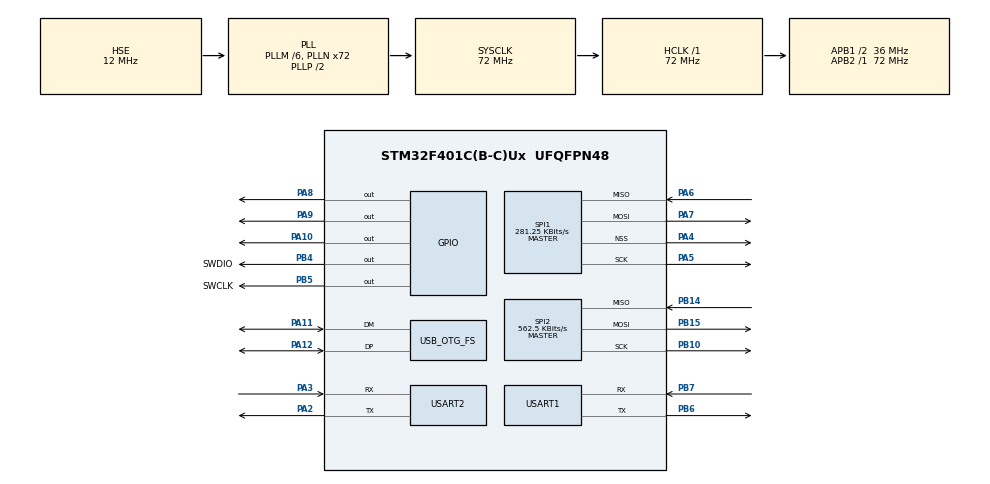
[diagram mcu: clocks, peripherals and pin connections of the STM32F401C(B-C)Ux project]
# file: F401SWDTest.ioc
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Dma.Request0=SPI2_RX
Dma.Request1=SPI2_TX
Dma.SPI2_RX.0.Direction=DMA_PERIPH_TO_MEMORY
Dma.SPI2_RX.0.FIFOMode=DMA_FIFOMODE_DISABLE
Dma.SPI2_RX.0.Instance=DMA1_Stream3
Dma.SPI2_RX.0.MemDataAlignment=DMA_MDATAALIGN_BYTE
Dma.SPI2_RX.0.MemInc=DMA_MINC_ENABLE
Dma.SPI2_RX.0.Mode=DMA_NORMAL
Dma.SPI2_RX.0.PeriphDataAlignment=DMA_PDATAALIGN_BYTE
Dma.SPI2_RX.0.PeriphInc=DMA_PINC_DISABLE
Dma.SPI2_RX.0.Priority=DMA_PRIORITY_VERY_HIGH
Dma.SPI2_TX.1.Direction=DMA_MEMORY_TO_PERIPH
Dma.SPI2_TX.1.FIFOMode=DMA_FIFOMODE_ENABLE
Dma.SPI2_TX.1.FIFOThreshold=DMA_FIFO_THRESHOLD_FULL
Dma.SPI2_TX.1.Instance=DMA1_Stream4
Dma.SPI2_TX.1.MemBurst=DMA_MBURST_SINGLE
Dma.SPI2_TX.1.MemDataAlignment=DMA_MDATAALIGN_BYTE
Dma.SPI2_TX.1.MemInc=DMA_MINC_ENABLE
Dma.SPI2_TX.1.Mode=DMA_NORMAL
Dma.SPI2_TX.1.PeriphBurst=DMA_PBURST_SINGLE
Dma.SPI2_TX.1.PeriphDataAlignment=DMA_PDATAALIGN_BYTE
Dma.SPI2_TX.1.PeriphInc=DMA_PINC_DISABLE
Dma.SPI2_TX.1.Priority=DMA_PRIORITY_VERY_HIGH
FATFS._LFN_UNICODE=0
FATFS._USE_LFN=3
Mcu.Family=STM32F4
Mcu.Name=STM32F401C(B-C)Ux
Mcu.Package=UFQFPN48
NVIC.DMA1_Stream3_IRQn=true\:4\:0\:true\:false\:true\:false
NVIC.DMA1_Stream4_IRQn=true\:4\:0\:true\:false\:true\:false
NVIC.OTG_FS_IRQn=true\:5\:0\:true\:false\:true\:false
NVIC.PriorityGroup=NVIC_PRIORITYGROUP_4
PA10.Signal=GPIO_Output
PA11.Mode=Device_Only
PA11.Signal=USB_OTG_FS_DM
PA12.Mode=Device_Only
PA12.Signal=USB_OTG_FS_DP
PA13.Mode=Serial_Wire
PA13.Signal=SYS_JTMS-SWDIO
PA14.Mode=Serial_Wire
PA14.Signal=SYS_JTCK-SWCLK
PA2.Mode=Asynchronous
PA2.Signal=USART2_TX
PA3.Mode=Asynchronous
PA3.Signal=USART2_RX
PA4.Mode=NSS_Signal_Hard_Output
PA4.Signal=SPI1_NSS
PA5.Mode=Full_Duplex_Master
PA5.Signal=SPI1_SCK
PA6.Mode=Full_Duplex_Master
PA6.Signal=SPI1_MISO
PA7.Mode=Full_Duplex_Master
PA7.Signal=SPI1_MOSI
PA8.Signal=GPIO_Output
PA9.Signal=GPIO_Output
PB10.Mode=Full_Duplex_Master
PB10.Signal=SPI2_SCK
PB14.Mode=Full_Duplex_Master
PB14.Signal=SPI2_MISO
PB15.Mode=Full_Duplex_Master
PB15.Signal=SPI2_MOSI
PB4.GPIO_Label=SWDIO
PB4.GPIO_PuPd=GPIO_PULLUP
PB4.GPIO_Speed=GPIO_SPEED_FREQ_LOW
PB4.Signal=GPIO_Output
PB5.GPIO_Label=SWCLK
PB5.GPIO_PuPd=GPIO_PULLDOWN
PB5.GPIO_Speed=GPIO_SPEED_FREQ_LOW
PB5.Signal=GPIO_Output
PB6.Mode=Asynchronous
PB6.Signal=USART1_TX
PB7.Mode=Asynchronous
PB7.Signal=USART1_RX
PH0\ -\ OSC_IN.Mode=HSE-External-Oscillator
PH0\ -\ OSC_IN.Signal=RCC_OSC_IN
PH1\ -\ OSC_OUT.Mode=HSE-External-Oscillator
PH1\ -\ OSC_OUT.Signal=RCC_OSC_OUT
ProjectManager.HeapSize=0x5000
ProjectManager.StackSize=0x3000
ProjectManager.TargetToolchain=MDK-ARM V5
RCC.48MHZClocksFreq_Value=48000000
RCC.AHBFreq_Value=72000000
RCC.APB1CLKDivider=RCC_HCLK_DIV2
RCC.APB1Freq_Value=36000000
RCC.APB1TimFreq_Value=72000000
RCC.APB2Freq_Value=72000000
RCC.APB2TimFreq_Value=72000000
RCC.CortexFreq_Value=72000000
RCC.HCLKFreq_Value=72000000
RCC.HSE_VALUE=12000000
RCC.HSI_VALUE=16000000
RCC.LSE_VALUE=32768
RCC.PLLM=6
RCC.PLLN=72
RCC.PLLQ=3
RCC.SYSCLKFreq_VALUE=72000000
RCC.SYSCLKSource=RCC_SYSCLKSOURCE_PLLCLK
RCC.VCOOutputFreq_Value=144000000
SPI1.BaudRatePrescaler=SPI_BAUDRATEPRESCALER_256
SPI1.CLKPhase=SPI_PHASE_2EDGE
SPI1.CalculateBaudRate=281.25 KBits/s
SPI1.Direction=SPI_DIRECTION_2LINES
SPI1.FirstBit=SPI_FIRSTBIT_LSB
SPI1.Mode=SPI_MODE_MASTER
SPI1.VirtualNSS=VM_NSSHARD
SPI1.VirtualType=VM_MASTER
SPI2.BaudRatePrescaler=SPI_BAUDRATEPRESCALER_64
SPI2.CLKPhase=SPI_PHASE_2EDGE
SPI2.CalculateBaudRate=562.5 KBits/s
SPI2.Direction=SPI_DIRECTION_2LINES
SPI2.Mode=SPI_MODE_MASTER
SPI2.VirtualType=VM_MASTER
USART1.VirtualMode=VM_ASYNC
USART2.VirtualMode=VM_ASYNC
USB_DEVICE.CLASS_NAME_FS=MSC
USB_DEVICE.VirtualMode=Msc
USB_DEVICE.VirtualModeFS=Msc_FS
USB_OTG_FS.VirtualMode=Device_Only
USB_OTG_FS.vbus_sensing_enable=DISABLE
VP_CRC_VS_CRC.Mode=CRC_Activate
VP_FATFS_VS_Generic.Mode=User_defined
VP_USB_DEVICE_VS_USB_DEVICE_MSC_FS.Mode=MSC_FS
board=F401SWDTest

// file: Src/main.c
/**
  ******************************************************************************
  * File Name          : main.c
  * Description        : Main program body
  ******************************************************************************
  * This notice applies to any and all portions of this file
  * that are not between comment pairs USER CODE BEGIN and
  * USER CODE END. Other portions of this file, whether
  * inserted by the user or by software development tools
  * are owned by their respective copyright owners.
  *
  * Copyright (c) 2017 STMicroelectronics International N.V.
  * All rights reserved.
  *
  * Redistribution and use in source and binary forms, with or without
  * modification, are permitted, provided that the following conditions are met:
  *
  * 1. Redistribution of source code must retain the above copyright notice,
  *    this list of conditions and the following disclaimer.
  * 2. Redistributions in binary form must reproduce the above copyright notice,
  *    this list of conditions and the following disclaimer in the documentation
  *    and/or other materials provided with the distribution.
  * 3. Neither the name of STMicroelectronics nor the names of other
  *    contributors to this software may be used to endorse or promote products
  *    derived from this software without specific written permission.
  * 4. This software, including modifications and/or derivative works of this
  *    software, must execute solely and exclusively on microcontroller or
  *    microprocessor devices manufactured by or for STMicroelectronics.
  * 5. Redistribution and use of this software other than as permitted under
  *    this license is void and will automatically terminate your rights under
  *    this license.
  *
  * THIS SOFTWARE IS PROVIDED BY STMICROELECTRONICS AND CONTRIBUTORS "AS IS"
  * AND ANY EXPRESS, IMPLIED OR STATUTORY WARRANTIES, INCLUDING, BUT NOT
  * LIMITED TO, THE IMPLIED WARRANTIES OF MERCHANTABILITY, FITNESS FOR A
  * PARTICULAR PURPOSE AND NON-INFRINGEMENT OF THIRD PARTY INTELLECTUAL PROPERTY
  * RIGHTS ARE DISCLAIMED TO THE FULLEST EXTENT PERMITTED BY LAW. IN NO EVENT
  * SHALL STMICROELECTRONICS OR CONTRIBUTORS BE LIABLE FOR ANY DIRECT, INDIRECT,
  * INCIDENTAL, SPECIAL, EXEMPLARY, OR CONSEQUENTIAL DAMAGES (INCLUDING, BUT NOT
  * LIMITED TO, PROCUREMENT OF SUBSTITUTE GOODS OR SERVICES; LOSS OF USE, DATA,
  * OR PROFITS; OR BUSINESS INTERRUPTION) HOWEVER CAUSED AND ON ANY THEORY OF
  * LIABILITY, WHETHER IN CONTRACT, STRICT LIABILITY, OR TORT (INCLUDING
  * NEGLIGENCE OR OTHERWISE) ARISING IN ANY WAY OUT OF THE USE OF THIS SOFTWARE,
  * EVEN IF ADVISED OF THE POSSIBILITY OF SUCH DAMAGE.
  *
  ******************************************************************************
  */
#include "main.h"
#include "stm32f4xx_hal.h"
#include "fatfs.h"
#include "usb_device.h"

/* USER CODE BEGIN Includes */
#include "command.h"
#include "target_internal.h"
#include "cortexm.h"
/* USER CODE END Includes */

CRC_HandleTypeDef hcrc;

SPI_HandleTypeDef hspi1;
SPI_HandleTypeDef hspi2;
DMA_HandleTypeDef hdma_spi2_rx;
DMA_HandleTypeDef hdma_spi2_tx;

UART_HandleTypeDef huart1;
UART_HandleTypeDef huart2;

/* USER CODE BEGIN PV */
/* Private variables ---------------------------------------------------------*/
extern target *target_list;

//extern void stm32f4_flash_unlock(target *t);
//extern int stm32f4_flash_write(struct target_flash *f, target_addr dest, const void *src, size_t len);

/* USER CODE END PV */

void SystemClock_Config(void);
static void MX_GPIO_Init(void);
static void MX_DMA_Init(void);
static void MX_USART2_UART_Init(void);
static void MX_SPI1_Init(void);
static void MX_CRC_Init(void);
static void MX_USART1_UART_Init(void);
static void MX_SPI2_Init(void);

/* USER CODE BEGIN PFP */
/* Private function prototypes -----------------------------------------------*/
char hello[]="\nHello,World!\n";
/* USER CODE END PFP */

/* USER CODE BEGIN 0 */

uint8_t lineReset[8]={0xFF,0xFF,0xFF,0xFF,0xFF,0xFF,0xFF,0xFF};

//uint8_t JTAG2SWD[18]={0xFF,0xFF,0xFF,0xFF,0xFF,0xFF,0xFF,0xFF,0x79,0xE7,0xFF,0xFF,0xFF,0xFF,0xFF,0xFF,0xFF,0xF0};  //MSB
uint8_t JTAG2SWD[18]={0xFF,0xFF,0xFF,0xFF,0xFF,0xFF,0xFF,0xFF,0x9E,0xE7,0xFF,0xFF,0xFF,0xFF,0xFF,0xFF,0xFF,0x00};  //LSB
uint8_t Cache[18];
//uint8_t readIDCode[6]={0xA5,0x00,0x00,0x00,0x00,0x00};  //MSB
uint8_t readIDCode[7]={0xA5,0x00,0x00,0x00,0x00,0x00};  //LSB
uint8_t readContent[7];

/* USER CODE END 0 */

int main(void)
{

  /* MCU Configuration----------------------------------------------------------*/

  /* Reset of all peripherals, Initializes the Flash interface and the Systick. */
  HAL_Init();

  /* Configure the system clock */
  SystemClock_Config();

  /* Initialize all configured peripherals */
  MX_GPIO_Init();
  MX_DMA_Init();
  MX_USART2_UART_Init();
  MX_SPI1_Init();
  MX_CRC_Init();
  MX_USART1_UART_Init();
  MX_USB_DEVICE_Init();
  MX_FATFS_Init();
  MX_SPI2_Init();

  /* USER CODE BEGIN 2 */

	HAL_SPI_TransmitReceive(&hspi1, JTAG2SWD, Cache, 18, 100);

	//HAL_SPI_TransmitReceive(&hspi1, readIDCode, readContent, 6, 100);
	HAL_SPI_TransmitReceive(&hspi1, readIDCode, readContent, 7, 100);

	//printf("\n\n%d\n\n", sizeof(ADIv5_DP_t));
//	static uint8_t stm32f4_flash_memory_space_count = 0;
//	static uint8_t stm32f4_flash_memory_space[10][64];
//	struct stm32f4_flash *sf = (struct stm32f4_flash *)stm32f4_flash_memory_space[stm32f4_flash_memory_space_count++];

	//f_mount(&USERFatFS, USERPath, 0);

	FATFS *fs = &USERFatFS;
	FRESULT res;
	DWORD fre_clust;
	FIL fwfile;
	FILINFO fwfileinfo;
	DIR dir;
	char fwfilepath[16];
	UINT fwReadByte;

	res = f_mount(fs, USERPath, 1);
  if (res != FR_OK)
  {
    printf("FAILED: %d\n",res);
	}
  else
		printf("MOUNT OK\n");

	res = f_getfree(USERPath,&fre_clust,&fs);         /* Get Number of Free Clusters */
	if (res == FR_OK)
	{
	                                             /* Print free space in unit of MB (assuming 512 bytes/sector) */
        printf("%.1f KB Total Drive Space.\n"
               "%.1f KB Available Space.\n",
               ((fs->n_fatent-2)*fs->csize)/2.0,(fre_clust*fs->csize)/2.0);
	}
	else
	{
		printf("get disk info error\n");
		printf("error code: %d\n",res);
	}

	res = f_opendir(&dir, "/");                       /* Open the directory */
	if (res == FR_OK) {
		for (;;) {
				res = f_readdir(&dir, &fwfileinfo);                   /* Read a directory item */
				if (res != FR_OK || fwfileinfo.fname[0] == 0)
					break;  /* Break on error or end of dir */
				if (fwfileinfo.fattrib & AM_DIR) {                    /* It is a directory */

				} else {                                       /* It is a file. */
						printf("%s%s  %lu Bytes\n", USERPath, fwfileinfo.fname, fwfileinfo.fsize);
						if(strstr(fwfileinfo.fname, ".BIN") != NULL)
							break;
				}
			}
			res = f_open(&fwfile, fwfileinfo.fname, FA_READ);

		} else {
			printf("open path ERROR\n");
		}

		uint8_t cache[128];
		do{
		res = f_read(&fwfile, cache, 128, &fwReadByte);
		printf("res = %d fwReadByte = %d\n", res, fwReadByte);
		}while(fwReadByte != 0);
		for(int i=0; i<128; i++)
			printf("%02x ", cache[i]);

	cmd_swdp_scan();

	if(target_list != NULL && fwfileinfo.fname[0] != 0)
	{

		cortexm_halt_request(target_list);
		cortexm_halt_on_reset_request(target_list);
		cortexm_reset(target_list);

		f_lseek(&fwfile, 0);
		uint8_t *fwbuff = malloc(0x4000);
		target_flash_erase(target_list,0x08000000, (fwfileinfo.fsize + 0x3FFF) & ~0x3FFF);
		uint32_t targetWriteOffset = 0;
		for(;;)
		{
			f_read(&fwfile, fwbuff, 0x4000, &fwReadByte);
			if(fwReadByte == 0)
				break;
			if((fwReadByte & 0x03) !=0)
			{
				uint32_t AlignedByte = ((fwReadByte + 0x03) & ~0x03);
				for(;fwReadByte < AlignedByte;fwReadByte++)
					fwbuff[fwReadByte] = 0xFF;
			}
			target_flash_write(target_list,0x08000000 + targetWriteOffset, (const void *)fwbuff, fwReadByte);
			targetWriteOffset += fwReadByte;
		}
		free(fwbuff);
//		{//DEBUG USE
//		uint8_t cache[128];
//		adiv5_mem_read(cortexm_ap(target_list), cache, 0x20000000, 128);
//		for(int i=0; i<128; i++)
//			printf("%02x ", cache[i]);
//		}

		cortexm_halt_on_reset_clear(target_list);
		cortexm_reset(target_list);
		printf("Program target device Complete!\n");
	} else {
		printf("Connect to target Fail, or can't find bin file.\n");
	}

	f_close(&fwfile);
	f_closedir(&dir);
  /* USER CODE END 2 */

  /* Infinite loop */
  while (1)
  {

  /* USER CODE BEGIN 3 */
	//HAL_SPI_TransmitReceive(&hspi1, JTAG2SWD, Cache, 18, 100);
	//HAL_SPI_TransmitReceive(&hspi1, readIDCode, readContent, 6, 100);
		HAL_UART_Transmit(&huart1, (uint8_t *)hello, sizeof(hello), 1000);

		HAL_GPIO_WritePin(GPIOA,GPIO_PIN_8,GPIO_PIN_SET);
		HAL_Delay(1000);

		//HAL_UART_Transmit(&huart1,  (uint8_t *)flash_ptr, 0x10, 1000);

		HAL_GPIO_WritePin(GPIOA,GPIO_PIN_8,GPIO_PIN_RESET);
		HAL_Delay(1000);

	}

  /* USER CODE END 3 */

}

/** System Clock Configuration
*/
void SystemClock_Config(void)
{

  RCC_OscInitTypeDef RCC_OscInitStruct;
  RCC_ClkInitTypeDef RCC_ClkInitStruct;

    /**Configure the main internal regulator output voltage
    */
  __HAL_RCC_PWR_CLK_ENABLE();

  __HAL_PWR_VOLTAGESCALING_CONFIG(PWR_REGULATOR_VOLTAGE_SCALE2);

    /**Initializes the CPU, AHB and APB busses clocks
    */
  RCC_OscInitStruct.OscillatorType = RCC_OSCILLATORTYPE_HSE;
  RCC_OscInitStruct.HSEState = RCC_HSE_ON;
  RCC_OscInitStruct.PLL.PLLState = RCC_PLL_ON;
  RCC_OscInitStruct.PLL.PLLSource = RCC_PLLSOURCE_HSE;
  RCC_OscInitStruct.PLL.PLLM = 6;
  RCC_OscInitStruct.PLL.PLLN = 72;
  RCC_OscInitStruct.PLL.PLLP = RCC_PLLP_DIV2;
  RCC_OscInitStruct.PLL.PLLQ = 3;
  if (HAL_RCC_OscConfig(&RCC_OscInitStruct) != HAL_OK)
  {
    _Error_Handler(__FILE__, __LINE__);
  }

    /**Initializes the CPU, AHB and APB busses clocks
    */
  RCC_ClkInitStruct.ClockType = RCC_CLOCKTYPE_HCLK|RCC_CLOCKTYPE_SYSCLK
                              |RCC_CLOCKTYPE_PCLK1|RCC_CLOCKTYPE_PCLK2;
  RCC_ClkInitStruct.SYSCLKSource = RCC_SYSCLKSOURCE_PLLCLK;
  RCC_ClkInitStruct.AHBCLKDivider = RCC_SYSCLK_DIV1;
  RCC_ClkInitStruct.APB1CLKDivider = RCC_HCLK_DIV2;
  RCC_ClkInitStruct.APB2CLKDivider = RCC_HCLK_DIV1;

  if (HAL_RCC_ClockConfig(&RCC_ClkInitStruct, FLASH_LATENCY_2) != HAL_OK)
  {
    _Error_Handler(__FILE__, __LINE__);
  }

    /**Configure the Systick interrupt time
    */
  HAL_SYSTICK_Config(HAL_RCC_GetHCLKFreq()/1000);

    /**Configure the Systick
    */
  HAL_SYSTICK_CLKSourceConfig(SYSTICK_CLKSOURCE_HCLK);

  /* SysTick_IRQn interrupt configuration */
  HAL_NVIC_SetPriority(SysTick_IRQn, 0, 0);
}

/* CRC init function */
static void MX_CRC_Init(void)
{

  hcrc.Instance = CRC;
  if (HAL_CRC_Init(&hcrc) != HAL_OK)
  {
    _Error_Handler(__FILE__, __LINE__);
  }

}

/* SPI1 init function */
static void MX_SPI1_Init(void)
{

  /* SPI1 parameter configuration*/
  hspi1.Instance = SPI1;
  hspi1.Init.Mode = SPI_MODE_MASTER;
  hspi1.Init.Direction = SPI_DIRECTION_2LINES;
  hspi1.Init.DataSize = SPI_DATASIZE_8BIT;
  hspi1.Init.CLKPolarity = SPI_POLARITY_LOW;
  hspi1.Init.CLKPhase = SPI_PHASE_2EDGE;
  hspi1.Init.NSS = SPI_NSS_HARD_OUTPUT;
  hspi1.Init.BaudRatePrescaler = SPI_BAUDRATEPRESCALER_256;
  hspi1.Init.FirstBit = SPI_FIRSTBIT_LSB;
  hspi1.Init.TIMode = SPI_TIMODE_DISABLE;
  hspi1.Init.CRCCalculation = SPI_CRCCALCULATION_DISABLE;
  hspi1.Init.CRCPolynomial = 10;
  if (HAL_SPI_Init(&hspi1) != HAL_OK)
  {
    _Error_Handler(__FILE__, __LINE__);
  }

}

/* SPI2 init function */
static void MX_SPI2_Init(void)
{

  /* SPI2 parameter configuration*/
  hspi2.Instance = SPI2;
  hspi2.Init.Mode = SPI_MODE_MASTER;
  hspi2.Init.Direction = SPI_DIRECTION_2LINES;
  hspi2.Init.DataSize = SPI_DATASIZE_8BIT;
  hspi2.Init.CLKPolarity = SPI_POLARITY_LOW;
  hspi2.Init.CLKPhase = SPI_PHASE_2EDGE;
  hspi2.Init.NSS = SPI_NSS_SOFT;
  hspi2.Init.BaudRatePrescaler = SPI_BAUDRATEPRESCALER_64;
  hspi2.Init.FirstBit = SPI_FIRSTBIT_MSB;
  hspi2.Init.TIMode = SPI_TIMODE_DISABLE;
  hspi2.Init.CRCCalculation = SPI_CRCCALCULATION_DISABLE;
  hspi2.Init.CRCPolynomial = 10;
  if (HAL_SPI_Init(&hspi2) != HAL_OK)
  {
    _Error_Handler(__FILE__, __LINE__);
  }

}

/* USART1 init function */
static void MX_USART1_UART_Init(void)
{

  huart1.Instance = USART1;
  huart1.Init.BaudRate = 115200;
  huart1.Init.WordLength = UART_WORDLENGTH_8B;
  huart1.Init.StopBits = UART_STOPBITS_1;
  huart1.Init.Parity = UART_PARITY_NONE;
  huart1.Init.Mode = UART_MODE_TX_RX;
  huart1.Init.HwFlowCtl = UART_HWCONTROL_NONE;
  huart1.Init.OverSampling = UART_OVERSAMPLING_16;
  if (HAL_UART_Init(&huart1) != HAL_OK)
  {
    _Error_Handler(__FILE__, __LINE__);
  }

}

/* USART2 init function */
static void MX_USART2_UART_Init(void)
{

  huart2.Instance = USART2;
  huart2.Init.BaudRate = 115200;
  huart2.Init.WordLength = UART_WORDLENGTH_8B;
  huart2.Init.StopBits = UART_STOPBITS_1;
  huart2.Init.Parity = UART_PARITY_NONE;
  huart2.Init.Mode = UART_MODE_TX_RX;
  huart2.Init.HwFlowCtl = UART_HWCONTROL_NONE;
  huart2.Init.OverSampling = UART_OVERSAMPLING_16;
  if (HAL_UART_Init(&huart2) != HAL_OK)
  {
    _Error_Handler(__FILE__, __LINE__);
  }

}

static void MX_DMA_Init(void)
{
  /* DMA controller clock enable */
  __HAL_RCC_DMA1_CLK_ENABLE();

  /* DMA interrupt init */
  /* DMA1_Stream3_IRQn interrupt configuration */
  HAL_NVIC_SetPriority(DMA1_Stream3_IRQn, 4, 0);
  HAL_NVIC_EnableIRQ(DMA1_Stream3_IRQn);
  /* DMA1_Stream4_IRQn interrupt configuration */
  HAL_NVIC_SetPriority(DMA1_Stream4_IRQn, 4, 0);
  HAL_NVIC_EnableIRQ(DMA1_Stream4_IRQn);

}

/** Configure pins as
        * Analog
        * Input
        * Output
        * EVENT_OUT
        * EXTI
*/
static void MX_GPIO_Init(void)
{

  GPIO_InitTypeDef GPIO_InitStruct;

  /* GPIO Ports Clock Enable */
  __HAL_RCC_GPIOH_CLK_ENABLE();
  __HAL_RCC_GPIOA_CLK_ENABLE();
  __HAL_RCC_GPIOB_CLK_ENABLE();

  /*Configure GPIO pin Output Level */
  HAL_GPIO_WritePin(GPIOA, GPIO_PIN_8|GPIO_PIN_9|GPIO_PIN_10, GPIO_PIN_RESET);

  /*Configure GPIO pin Output Level */
  HAL_GPIO_WritePin(GPIOB, SWDIO_Pin|SWCLK_Pin, GPIO_PIN_RESET);

  /*Configure GPIO pins : PA8 PA9 PA10 */
  GPIO_InitStruct.Pin = GPIO_PIN_8|GPIO_PIN_9|GPIO_PIN_10;
  GPIO_InitStruct.Mode = GPIO_MODE_OUTPUT_PP;
  GPIO_InitStruct.Pull = GPIO_NOPULL;
  GPIO_InitStruct.Speed = GPIO_SPEED_FREQ_LOW;
  HAL_GPIO_Init(GPIOA, &GPIO_InitStruct);

  /*Configure GPIO pin : SWDIO_Pin */
  GPIO_InitStruct.Pin = SWDIO_Pin;
  GPIO_InitStruct.Mode = GPIO_MODE_OUTPUT_PP;
  GPIO_InitStruct.Pull = GPIO_PULLUP;
  GPIO_InitStruct.Speed = GPIO_SPEED_FREQ_LOW;
  HAL_GPIO_Init(SWDIO_GPIO_Port, &GPIO_InitStruct);

  /*Configure GPIO pin : SWCLK_Pin */
  GPIO_InitStruct.Pin = SWCLK_Pin;
  GPIO_InitStruct.Mode = GPIO_MODE_OUTPUT_PP;
  GPIO_InitStruct.Pull = GPIO_PULLDOWN;
  GPIO_InitStruct.Speed = GPIO_SPEED_FREQ_LOW;
  HAL_GPIO_Init(SWCLK_GPIO_Port, &GPIO_InitStruct);

}

void _Error_Handler(char * file, int line)
{
  while(1)
  {
  }
}

/************************ (C) COPYRIGHT STMicroelectronics *****END OF FILE****/
